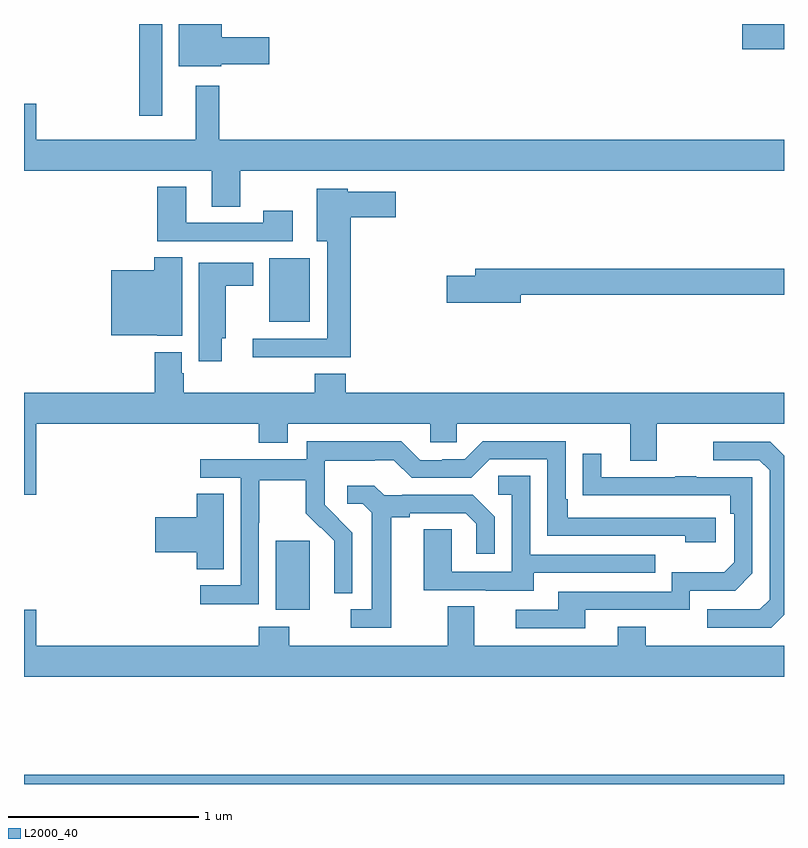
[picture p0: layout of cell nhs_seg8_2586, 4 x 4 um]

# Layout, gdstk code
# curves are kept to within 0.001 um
import gdstk
lib = gdstk.Library(unit=1e-6, precision=1e-09)
def R(c, l, rs):  # rectangles x0, y0, x1, y1
    for r in rs: c.add(gdstk.rectangle(r[:2], r[2:], *l))
def P(c, l, *ps):  # polygons
    for p in ps: c.add(gdstk.Polygon(p, *l))
L2000_40 = (2000, 40)

nhs_seg8_2586 = lib.new_cell('nhs_seg8_2586')
R(nhs_seg8_2586, L2000_40, [(273,1151.9,277,1151.948), (274.325,1152.818,274.504,1153.179), (274.292,1154.333,274.504,1154.668), (273.606,1155.417,273.727,1155.9), (276.78,1155.766,277,1155.9)])
P(nhs_seg8_2586, L2000_40, [(274.038,1155.688),(274.291,1155.688),(274.291,1155.83),(274.042,1155.83),(274.042,1155.9),(273.815,1155.9),(273.815,1155.677),(274.038,1155.677)],
  [(274.137,1155.128),(277,1155.128),(277,1155.292),(274.027,1155.292),(274.027,1155.574),(273.905,1155.574),(273.905,1155.292),(273.064,1155.292),(273.064,1155.481),(273,1155.481),(273,1155.128),(273.989,1155.128),(273.989,1154.938),(274.137,1154.938)],
  [(274.414,1154.917),(274.258,1154.917),(274.258,1154.853),(273.853,1154.853),(273.853,1155.043),(273.701,1155.043),(273.701,1154.757),(274.414,1154.757)],
  [(274.721,1154.882),(274.957,1154.882),(274.957,1155.016),(274.704,1155.016),(274.704,1155.034),(274.541,1155.034),(274.541,1154.756),(274.595,1154.756),(274.595,1154.244),(274.203,1154.244),(274.203,1154.147),(274.721,1154.147)],
  [(273.832,1154.672),(273.686,1154.672),(273.686,1154.605),(273.458,1154.605),(273.458,1154.261),(273.702,1154.261),(273.702,1154.258),(273.832,1154.258)],
  [(274.042,1154.247),(274.063,1154.247),(274.063,1154.522),(274.207,1154.522),(274.207,1154.644),(273.92,1154.644),(273.92,1154.124),(274.042,1154.124)],
  [(275.614,1154.476),(277,1154.476),(277,1154.612),(275.375,1154.612),(275.375,1154.576),(275.226,1154.576),(275.226,1154.434),(275.614,1154.434)],
  [(273.064,1153.796),(274.235,1153.796),(274.235,1153.697),(274.387,1153.697),(274.387,1153.796),(275.139,1153.796),(275.139,1153.698),(275.277,1153.698),(275.277,1153.796),(276.191,1153.796),(276.191,1153.602),(276.331,1153.602),(276.331,1153.796),(277,1153.796),(277,1153.96),(274.694,1153.96),(274.694,1154.059),(274.529,1154.059),(274.529,1153.96),(273.842,1153.96),(273.842,1154.061),(273.829,1154.061),(273.829,1154.173),(273.689,1154.173),(273.689,1153.96),(273,1153.96),(273,1153.422),(273.064,1153.422)],
  [(274.236,1153.276),(274.239,1153.276),(274.239,1153.5),(274.483,1153.5),(274.483,1153.325),(274.56,1153.248),(274.563,1153.251),(274.634,1153.181),(274.634,1153.058),(274.632,1153.058),(274.632,1152.904),(274.728,1152.904),(274.728,1153.222),(274.582,1153.37),(274.582,1153.467),(274.584,1153.467),(274.584,1153.601),(274.847,1153.601),(274.847,1153.605),(274.947,1153.605),(275.04,1153.512),(275.355,1153.512),(275.451,1153.608),(275.754,1153.608),(275.754,1153.206),(276.479,1153.206),(276.479,1153.172),(276.64,1153.172),(276.64,1153.302),(275.863,1153.302),(275.863,1153.399),(275.85,1153.399),(275.85,1153.704),(275.415,1153.704),(275.319,1153.608),(275.201,1153.608),(275.201,1153.605),(275.085,1153.605),(274.985,1153.705),(274.488,1153.705),(274.488,1153.608),(273.927,1153.608),(273.927,1153.512),(274.14,1153.512),(274.14,1152.945),(273.927,1152.945),(273.927,1152.847),(274.236,1152.847)],
  [(277,1152.79),(277,1153.628),(276.927,1153.701),(276.627,1153.701),(276.627,1153.605),(276.87,1153.605),(276.924,1153.551),(276.924,1152.87),(276.873,1152.819),(276.597,1152.819),(276.597,1152.723),(276.933,1152.723)],
  [(275.953,1152.816),(276.504,1152.816),(276.504,1152.918),(276.744,1152.918),(276.834,1153.008),(276.834,1153.515),(276.539,1153.515),(276.539,1153.52),(276.427,1153.52),(276.427,1153.515),(276.037,1153.515),(276.037,1153.639),(275.941,1153.639),(275.941,1153.42),(276.718,1153.419),(276.718,1153.322),(276.738,1153.322),(276.738,1153.068),(276.685,1153.015),(276.408,1153.015),(276.408,1152.912),(275.813,1152.912),(275.813,1152.816),(275.589,1152.816),(275.589,1152.72),(275.953,1152.72)],
  [(275.683,1153.011),(276.323,1153.011),(276.323,1153.107),(275.664,1153.107),(275.664,1153.523),(275.496,1153.523),(275.496,1153.422),(275.568,1153.422),(275.568,1153.017),(275.25,1153.017),(275.25,1153.241),(275.105,1153.241),(275.105,1152.921),(275.429,1152.921),(275.429,1152.917),(275.683,1152.917)],
  [(274.933,1153.304),(275.029,1153.304),(275.029,1153.326),(275.324,1153.326),(275.381,1153.269),(275.381,1153.113),(275.478,1153.113),(275.478,1153.306),(275.362,1153.422),(274.99,1153.422),(274.99,1153.419),(274.896,1153.419),(274.844,1153.471),(274.701,1153.471),(274.701,1153.374),(274.782,1153.374),(274.829,1153.327),(274.829,1152.819),(274.719,1152.819),(274.719,1152.723),(274.933,1152.723)],
  [(274.051,1153.427),(273.908,1153.427),(273.908,1153.304),(273.69,1153.304),(273.69,1153.121),(273.908,1153.121),(273.908,1153.03),(274.051,1153.03)],
  [(277,1152.628),(276.273,1152.628),(276.273,1152.727),(276.125,1152.727),(276.125,1152.628),(275.371,1152.628),(275.371,1152.836),(275.231,1152.836),(275.231,1152.628),(274.395,1152.628),(274.395,1152.727),(274.235,1152.727),(274.235,1152.628),(273.064,1152.628),(273.064,1152.817),(273,1152.817),(273,1152.464),(277,1152.464)])

lib.write_gds('nhs_seg8_2586.gds')
